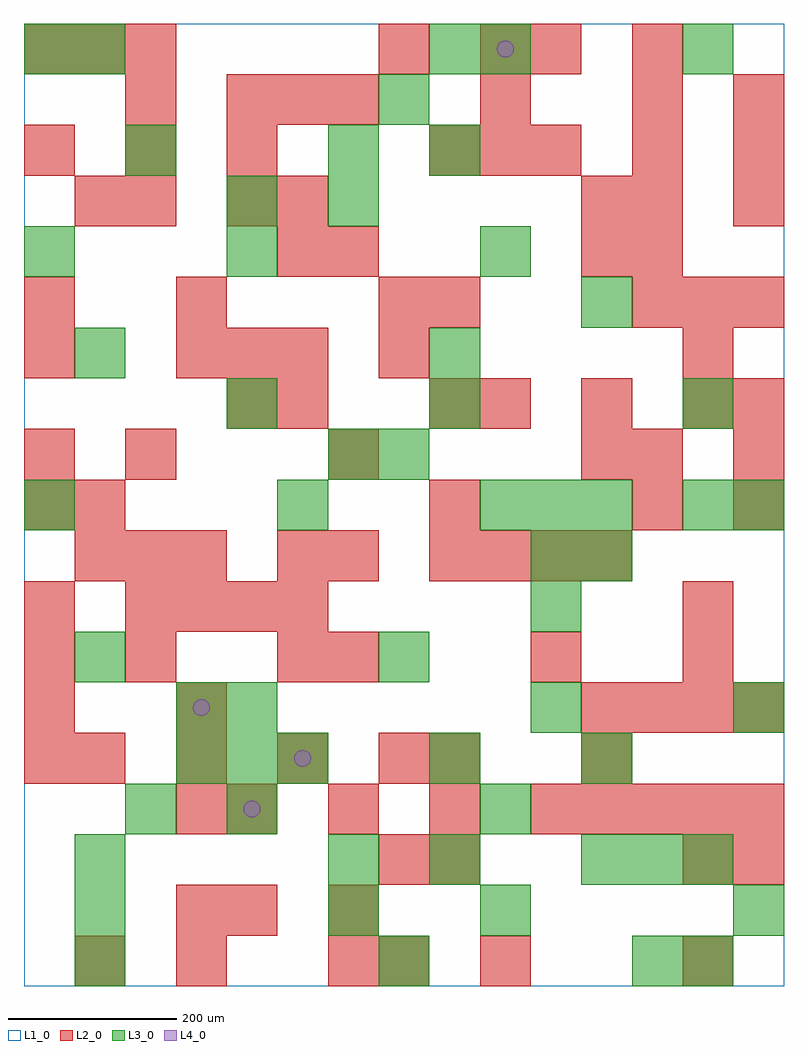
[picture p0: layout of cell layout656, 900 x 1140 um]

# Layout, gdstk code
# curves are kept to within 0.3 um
import gdstk
lib = gdstk.Library(unit=1e-6, precision=1e-09)
def R(c, l, rs):  # rectangles x0, y0, x1, y1
    for r in rs: c.add(gdstk.rectangle(r[:2], r[2:], *l))
def A(c, l, x, y, w, h, nx, ny, dx, dy):  # array of equal rectangles
    R(c, l, [(x+i*dx, y+j*dy, x+i*dx+w, y+j*dy+h) for i in range(nx) for j in range(ny)])
def P(c, l, *ps):  # polygons
    for p in ps: c.add(gdstk.Polygon(p, *l))
L1_0 = (1, 0)
L2_0 = (2, 0)
L3_0 = (3, 0)
L4_0 = (4, 0)

layout656 = lib.new_cell('layout656')
R(layout656, L1_0, [(0,0,900,1140)])
A(layout656, L2_0, 180, 60, 60, 60, 1, 3, 0, 120)
A(layout656, L2_0, 240, 180, 60, 60, 4, 1, 120, 0)
A(layout656, L2_0, 660, 180, 60, 60, 4, 2, 60, 120)
A(layout656, L2_0, 0, 240, 60, 60, 1, 4, 0, 60)
A(layout656, L2_0, 60, 240, 60, 60, 4, 1, 120, 0)
A(layout656, L2_0, 360, 360, 60, 60, 1, 3, 0, 120)
A(layout656, L2_0, 120, 420, 60, 60, 4, 1, 60, 0)
A(layout656, L2_0, 60, 480, 60, 60, 3, 1, 60, 0)
A(layout656, L2_0, 300, 480, 60, 60, 1, 3, 0, 180)
A(layout656, L2_0, 480, 480, 60, 60, 4, 1, 60, 0)
A(layout656, L2_0, 480, 540, 60, 60, 1, 3, 0, 120)
A(layout656, L2_0, 840, 540, 60, 60, 1, 3, 0, 60)
A(layout656, L2_0, 540, 660, 60, 60, 3, 1, 120, 0)
A(layout656, L2_0, 180, 720, 60, 60, 3, 1, 60, 0)
A(layout656, L2_0, 720, 780, 60, 60, 3, 1, 60, 0)
A(layout656, L2_0, 720, 840, 60, 60, 1, 5, 0, 60)
A(layout656, L2_0, 840, 900, 60, 60, 1, 3, 0, 60)
A(layout656, L2_0, 0, 960, 60, 60, 3, 1, 120, 0)
A(layout656, L2_0, 480, 960, 60, 60, 3, 1, 60, 0)
A(layout656, L2_0, 240, 1020, 60, 60, 3, 1, 60, 0)
A(layout656, L2_0, 0, 1080, 60, 60, 3, 1, 60, 0)
R(layout656, L2_0, [(60,0,120,60), (180,0,240,60), (360,0,420,60), (420,0,480,60), (540,0,600,60), (780,0,840,60), (240,60,300,120), (360,60,420,120), (420,120,480,180), (480,120,540,180), (780,120,840,180), (840,120,900,180), (480,240,540,300), (660,240,720,300), (120,360,180,420), (300,360,360,420), (600,360,660,420), (780,360,840,420), (780,420,840,480), (0,540,60,600), (60,540,120,600), (720,540,780,600), (0,600,60,660), (120,600,180,660), (660,600,720,660), (720,600,780,660), (240,660,300,720), (0,720,60,780), (420,720,480,780), (780,720,840,780), (0,780,60,840), (180,780,240,840), (420,780,480,840), (360,840,420,900), (660,840,720,900), (60,900,120,960), (120,900,180,960), (240,900,300,960), (300,900,360,960), (660,900,720,960), (120,1020,180,1080), (540,1020,600,1080), (420,1080,480,1140), (540,1080,600,1140), (600,1080,660,1140)])
A(layout656, L3_0, 60, 0, 60, 60, 1, 3, 0, 60)
A(layout656, L3_0, 840, 60, 60, 60, 1, 3, 0, 240)
A(layout656, L3_0, 660, 120, 60, 60, 3, 1, 60, 0)
A(layout656, L3_0, 180, 240, 60, 60, 3, 1, 60, 0)
A(layout656, L3_0, 60, 360, 60, 60, 1, 3, 0, 360)
A(layout656, L3_0, 540, 540, 60, 60, 3, 1, 60, 0)
R(layout656, L3_0, [(420,0,480,60), (720,0,780,60), (780,0,840,60), (360,60,420,120), (540,60,600,120), (360,120,420,180), (480,120,540,180), (120,180,180,240), (240,180,300,240), (540,180,600,240), (480,240,540,300), (660,240,720,300), (180,300,240,360), (240,300,300,360), (600,300,660,360), (420,360,480,420), (600,420,660,480), (600,480,660,540), (660,480,720,540), (0,540,60,600), (300,540,360,600), (780,540,840,600), (360,600,420,660), (420,600,480,660), (240,660,300,720), (480,660,540,720), (780,660,840,720), (480,720,540,780), (660,780,720,840), (0,840,60,900), (240,840,300,900), (540,840,600,900), (240,900,300,960), (360,900,420,960), (120,960,180,1020), (360,960,420,1020), (480,960,540,1020), (420,1020,480,1080), (0,1080,60,1140), (480,1080,540,1140), (540,1080,600,1140), (780,1080,840,1140)])
P(layout656, L4_0, [(220,330),(219.239,333.827),(217.071,337.071),(213.827,339.239),(210,340),(206.173,339.239),(202.929,337.071),(200.761,333.827),(200,330),(200.761,326.173),(202.929,322.929),(206.173,320.761),(210,320),(213.827,320.761),(217.071,322.929),(219.239,326.173)],
  [(280,210),(279.239,213.827),(277.071,217.071),(273.827,219.239),(270,220),(266.173,219.239),(262.929,217.071),(260.761,213.827),(260,210),(260.761,206.173),(262.929,202.929),(266.173,200.761),(270,200),(273.827,200.761),(277.071,202.929),(279.239,206.173)],
  [(340,270),(339.239,273.827),(337.071,277.071),(333.827,279.239),(330,280),(326.173,279.239),(322.929,277.071),(320.761,273.827),(320,270),(320.761,266.173),(322.929,262.929),(326.173,260.761),(330,260),(333.827,260.761),(337.071,262.929),(339.239,266.173)],
  [(580,1110),(579.239,1113.827),(577.071,1117.071),(573.827,1119.239),(570,1120),(566.173,1119.239),(562.929,1117.071),(560.761,1113.827),(560,1110),(560.761,1106.173),(562.929,1102.929),(566.173,1100.761),(570,1100),(573.827,1100.761),(577.071,1102.929),(579.239,1106.173)])

lib.write_gds('layout656.gds')
